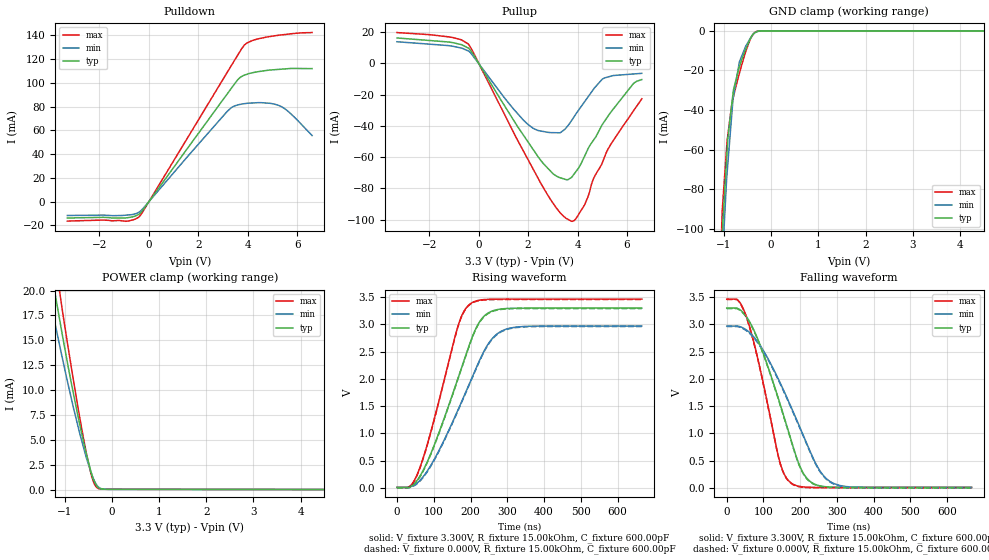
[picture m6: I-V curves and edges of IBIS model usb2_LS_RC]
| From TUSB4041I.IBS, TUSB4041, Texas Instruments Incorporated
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|   USB 2.0 High Speed mode, for DP/DM pin 750KHz with recommended
|   Rload and Cload of 15kOhm and 600pF
[Model]   usb2_LS_RC
Model_type   I/O
Polarity   Non-Inverting
Enable   Active-High
Vmeas = 1.32V
Vref = 0
Rref = 15000
Cref = 600pF
Vinl = 0.8V
Vinh = 2.0V
|   typ   min   max
|   (nom PVT)   (Fast PVT)   (slow PVT)
C_comp   9.3159pF   9.1524pF   9.4841pF
[Voltage Range]   3.3   2.97   3.465
[Temperature Range]   27   105   -40
[Pullup Reference]   3.3   2.97   3.465
[Pulldown Reference]   -0   -0   -0
[Power Clamp Reference]   3.3   2.97   3.465
[GND Clamp Reference]   -0   -0   -0
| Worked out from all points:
|   slope of the pulldown table from 0 to 0.495 V, typ, clamps not added: 34.7 ohm
|   slope of the pullup table from 0 to 0.495 V, typ, clamps not added: 38.2 ohm
|   GND clamp passes 1 mA (typ) near -0.35 V on its own axis
|   POWER clamp passes 1 mA (typ) near -0.38 V on its own axis
|   falling waveform, V_fixture 3.300V, R_fixture 15.00kOhm, C_fixture 600.00pF: 20-80 % time 95ns typ, 120ns min, 66.7ns max; typ from 3.3 V to 0.008 V
|   rising waveform, V_fixture 3.300V, R_fixture 15.00kOhm, C_fixture 600.00pF: 20-80 % time 103ns typ, 120ns min, 79.8ns max; typ from 0.008 V to 3.3 V
|   rising waveform, V_fixture 0.000V, R_fixture 15.00kOhm, C_fixture 600.00pF: 20-80 % time 103ns typ, 119ns min, 79.8ns max; typ from 0 V to 3.29 V
|   falling waveform, V_fixture 0.000V, R_fixture 15.00kOhm, C_fixture 600.00pF: 20-80 % time 95.1ns typ, 120ns min, 66.7ns max; typ from 3.29 V to 0 V
[Pulldown]
|   Voltage   I(typ)   I(min)   I(max)
-3.3V     -13.8mA    -11.67mA   -16.38mA
-1.818V   -13.22mA   -11.38mA   -15.5mA
-933.8mV  -13.69mA   -11.39mA   -16.56mA
-393.4mV  -10.5mA    -8.814mA   -12.71mA
3.144V    90.09mA    75.48mA    108.1mA
3.518V    100.7mA    80.99mA    120.9mA
3.716V    105mA      82.04mA    127.7mA
3.979V    107.4mA    82.87mA    133.8mA
4.553V    109.9mA    83.38mA    137.7mA
5.239V    111.4mA    81.15mA    140.2mA
5.684V    112.1mA    75.09mA    141.3mA
6.6V      112.1mA    55.7mA     142.4mA
[GND Clamp]
|   Voltage   I(typ)   I(min)   I(max)
-3.3V     -2.986A    -2.594A    -3.408A
-1.078V   -130.7mA   -136.1mA   -123.1mA
-1.035V   -101.8mA   -116.7mA   -90.38mA
-933.8mV  -60.8mA    -71.89mA   -55.6mA
-917.7mV  -54.32mA   -67.11mA   -52.63mA
-830mV    -36.19mA   -40.99mA   -36.44mA
-800mV    -30mA      -33.29mA   -33.41mA
-672.6mV  -18.05mA   -15.62mA   -21.44mA
-537.4mV  -9.128mA   -7.685mA   -10.37mA
-452.6mV  -4.449mA   -4.267mA   -4.821mA
-311.3mV  -500.4uA   -565.3uA   -312.4uA
6.6V      0A         0A         0A
[Pullup]
|   Voltage   I(typ)   I(min)   I(max)
-3.3V     16.19mA    13.77mA    19.64mA
-422.2mV  9.743mA    7.891mA    12.39mA
1.406V    -36.22mA   -29.18mA   -44.02mA
2.198V    -55mA      -41.55mA   -67.51mA
3.296V    -73.26mA   -44.5mA    -95.68mA
3.744V    -73.22mA   -37.02mA   -101mA
4.291V    -59.28mA   -24.5mA    -90.47mA
4.637V    -49.45mA   -16.86mA   -74.15mA
4.997V    -39.36mA   -10.25mA   -63.91mA
5.347V    -31.31mA   -8.288mA   -51.9mA
6.247V    -13.27mA   -6.876mA   -30.86mA
6.6V      -10.45mA   -6.447mA   -22.73mA
[POWER Clamp]
|   Voltage   I(typ)   I(min)   I(max)
-3.3V     96.14mA    80.42mA    114.3mA
-1.357V   24.07mA    20.31mA    28.32mA
-1.197V   19.63mA    16.62mA    22.94mA
-1.078V   16.4mA     13.92mA    19.06mA
-917.7mV  12.22mA    10.44mA    14.11mA
-762.7mV  8.497mA    7.289mA    9.602mA
-540.3mV  3.645mA    3.234mA    3.714mA
-422.2mV  1.516mA    1.529mA    1.289mA
-358.7mV  704.2uA    786.5uA    480.4uA
-291.5mV  239.5uA    302.9uA    123.9uA
-75.48mV  29.65uA    23.12uA    37.69uA
6.6V      0A         0A         0A
[Ramp]
R_load = 15.00kOhm
|   typ   min   max
dV/dt_r   1.974V/103.338ns   1.776V/119.335ns   2.074V/79.676ns
dV/dt_f   1.975V/94.981ns   1.777V/119.587ns   2.074V/66.677ns
[Falling Waveform]
V_fixture = 3.300V
V_fixture_min = 2.970V
V_fixture_max = 3.465V
R_fixture = 15.00kOhm
C_fixture = 600.00pF
|   Time   V(typ)   V(min)   V(max)
0s        3.299V     2.969V     3.464V
29.63ns   3.293V     2.969V     3.451V
53.58ns   3.143V     2.898V     3.14V
85.5ns    2.713V     2.667V     2.343V
143.7ns   1.569V     1.951V     494.9mV
175ns     879.6mV    1.484V     89.73mV
218.8ns   168.9mV    797mV      11.37mV
255.7ns   33.06mV    291.2mV    6.896mV
290.3ns   11.2mV     82.6mV     6.651mV
666ns     7.603mV    8.069mV    6.676mV
[Rising Waveform]
V_fixture = 3.300V
V_fixture_min = 2.970V
V_fixture_max = 3.465V
R_fixture = 15.00kOhm
C_fixture = 600.00pF
|   Time   V(typ)   V(min)   V(max)
0s        7.603mV    8.069mV    6.676mV
34.47ns   18.06mV    13.95mV    27.35mV
58.15ns   170.3mV    108.1mV    298.3mV
102.1ns   798.4mV    531.7mV    1.284V
166.6ns   2.024V     1.441V     2.984V
198.1ns   2.648V     1.93V      3.371V
236.8ns   3.15V      2.511V     3.456V
267.1ns   3.263V     2.796V     3.463V
297.7ns   3.292V     2.914V     3.464V
666ns     3.299V     2.969V     3.464V
[Rising Waveform]
V_fixture = 0.000V
V_fixture_min = 0.000V
V_fixture_max = 0.000V
R_fixture = 15.00kOhm
C_fixture = 600.00pF
|   Time   V(typ)   V(min)   V(max)
0s        2.675uV    8.032uV    3.659uV
34.7ns    9.552mV    5.136mV    20.11mV
58.18ns   158.2mV    95.07mV    288.4mV
102.1ns   785mV      516.7mV    1.273V
166.7ns   2.015V     1.429V     2.977V
198.2ns   2.637V     1.917V     3.364V
236.8ns   3.14V      2.497V     3.448V
267.4ns   3.255V     2.786V     3.456V
297.9ns   3.283V     2.905V     3.457V
666ns     3.291V     2.96V      3.457V
[Falling Waveform]
V_fixture = 0.000V
V_fixture_min = 0.000V
V_fixture_max = 0.000V
R_fixture = 15.00kOhm
C_fixture = 600.00pF
|   Time   V(typ)   V(min)   V(max)
0s        3.291V     2.96V      3.457V
29.38ns   3.285V     2.96V      3.445V
53.48ns   3.13V      2.884V     3.131V
85.45ns   2.699V     2.65V      2.332V
143.5ns   1.558V     1.936V     488.1mV
174.8ns   869.1mV    1.47V      82.96mV
218.6ns   160.3mV    784.2mV    4.648mV
255.2ns   25.45mV    282.1mV    218.6uV
290ns     3.518mV    73.48mV    -23.23uV
666ns     2.675uV    8.032uV    3.659uV
